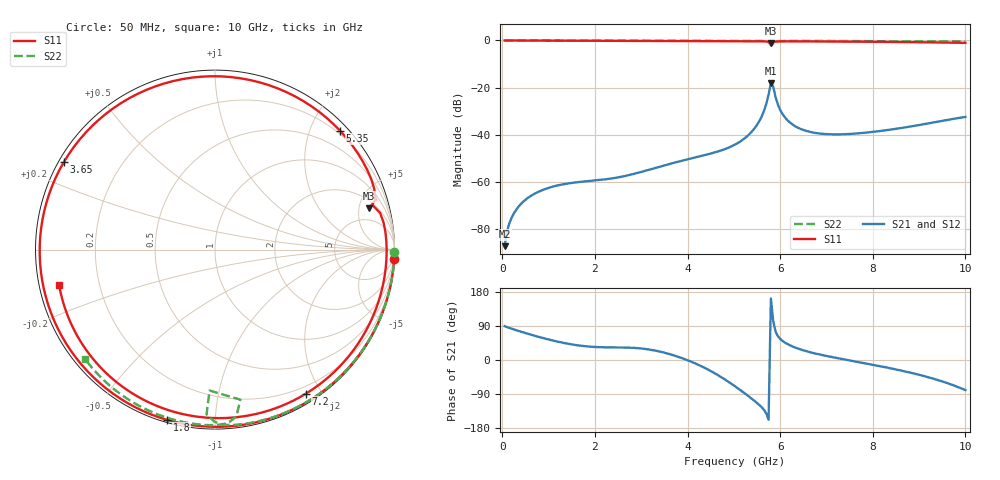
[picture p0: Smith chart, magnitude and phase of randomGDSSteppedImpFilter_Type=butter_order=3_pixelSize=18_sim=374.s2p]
! freq	dB(S11)	phase(S11)	dB(S12)	phase(S12)
!  dB(S21)	phase(S21)	dB(S22)	phase(S22)
!S-par simulation data
#  GHz  S  DB  R 50
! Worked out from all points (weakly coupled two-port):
!   200 points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, 50 MHz to 10 GHz, reference 50 ohm
!   highest |S21| = -18.19 dB at 5.8 GHz (marker M1); lowest = -87.2 dB at 50 MHz (marker M2)
!   lowest |S11| = -1.0 dB at 5.8 GHz (marker M3), VSWR 16.82, Z = 145 + j315 ohm
!   |S11| at or under -10 dB: nowhere
!   |S22| runs from -2.1 to 0.0 dB; largest |S21 - S12| = 0
!   S11 on the Smith chart (normalised r, x): 50 MHz: 0, -37; 1.8 GHz: 0.01, -0.76; 3.65 GHz: 0.01, +0.27; 5.35 GHz: 0.14, +2.50; 7.2 GHz: 0.11, -1.81; 10 GHz: 0.06, -0.11
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0.05  -0.00 -3.1  -87.19 89.4  -87.19 89.4  -0.00 -0.8
0.35  -0.03 -21.3  -70.46 76.8  -70.46 76.8  -0.01 -5.7
0.65  -0.05 -39.3  -65.48 65.7  -65.48 65.7  -0.01 -10.5
1.2  -0.09 -71.6  -61.42 48.3  -61.42 48.3  -0.02 -19.3
1.75  -0.12 -102.9  -59.81 36.9  -59.81 36.9  -0.04 -28.0
1.8  -0.13 -105.8  -59.71 36.2  -59.71 36.2  -0.04 -28.8
2.65  -0.18 -153.0  -57.45 32.9  -57.45 32.9  -0.05 -42.0
3.4  -0.22 164.5  -53.49 22.3  -53.49 22.3  -0.07 -53.3
3.65  -0.24 149.9  -52.14 14.3  -52.14 14.3  -0.08 -57.1
4.4  -0.29 104.0  -48.45 -22.6  -48.45 -22.6  -0.10 -68.0
5.05  -0.33 62.6  -43.88 -71.5  -43.88 -71.5  -0.12 -77.5
5.35  -0.34 43.5  -39.43 -98.6  -39.43 -98.6  -0.14 -82.1
5.65  -0.40 24.2  -29.94 -131.5  -29.94 -131.5  -0.26 -88.3
5.8  -1.03 15.0  -18.19 162.4  -18.19 162.4  -2.09 -92.2
5.85  -0.81 15.9  -19.56 102.7  -19.56 102.7  -1.43 -80.4
5.95  -0.43 9.0  -27.10 63.2  -27.10 63.2  -0.34 -85.0
6.1  -0.39 -0.4  -32.53 46.2  -32.53 46.2  -0.21 -89.0
6.7  -0.41 -33.3  -38.99 18.9  -38.99 18.9  -0.20 -98.2
7.2  -0.45 -57.8  -39.81 5.8  -39.81 5.8  -0.23 -104.8
8.35  -0.62 -106.8  -37.88 -21.0  -37.88 -21.0  -0.31 -119.4
9.2  -0.80 -138.7  -35.15 -45.5  -35.15 -45.5  -0.39 -130.0
10  -1.01 -167.0  -32.43 -79.3  -32.43 -79.3  -0.48 -139.8
